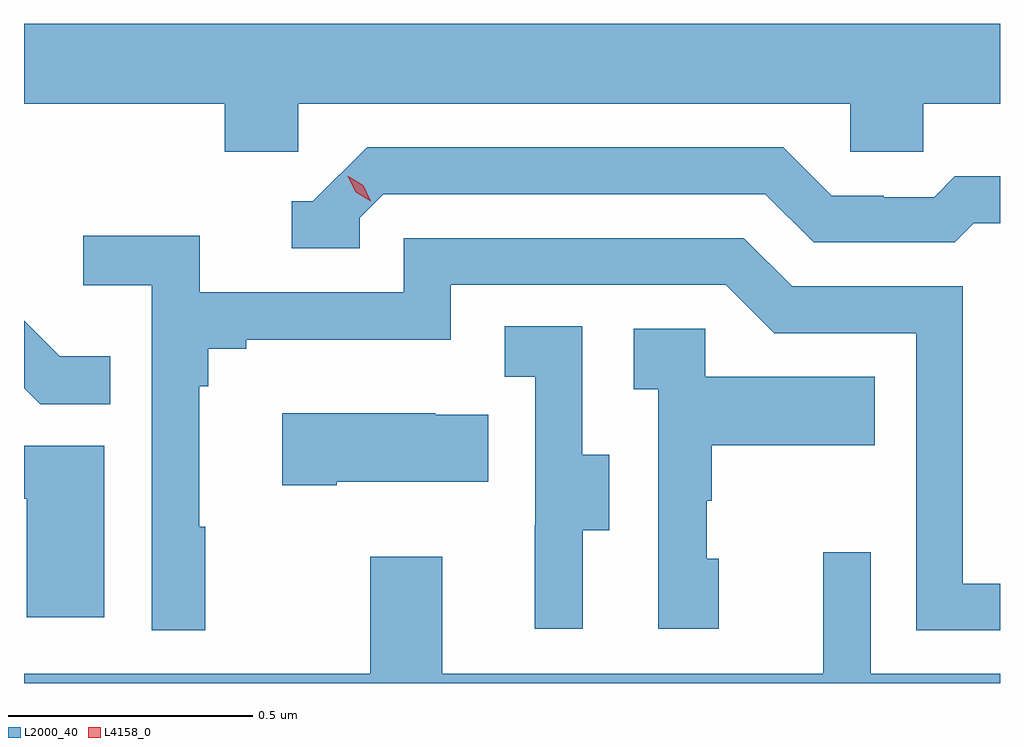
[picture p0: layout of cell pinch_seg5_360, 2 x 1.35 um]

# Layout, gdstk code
import gdstk
lib = gdstk.Library(unit=1e-6, precision=1e-09)
def P(c, l, *ps):  # polygons
    for p in ps: c.add(gdstk.Polygon(p, *l))
L2000_40 = (2000, 40)
L4158_0 = (4158, 0)

pinch_seg5_360 = lib.new_cell('pinch_seg5_360')
P(pinch_seg5_360, L2000_40, [(983.526,884.732),(984.657,884.732),(984.657,884.634),(984.807,884.634),(984.807,884.732),(984.964,884.732),(984.964,884.896),(982.964,884.896),(982.964,884.732),(983.375,884.732),(983.375,884.634),(983.526,884.634)],
  [(983.652,884.499),(983.7,884.547),(984.483,884.547),(984.582,884.448),(984.871,884.448),(984.91,884.487),(984.964,884.487),(984.964,884.584),(984.871,884.584),(984.829,884.541),(984.726,884.541),(984.726,884.544),(984.619,884.544),(984.52,884.643),(983.667,884.643),(983.556,884.532),(983.513,884.532),(983.513,884.436),(983.652,884.436)],
  [(983.335,883.865),(983.323,883.865),(983.323,884.153),(983.342,884.153),(983.342,884.23),(983.419,884.23),(983.419,884.249),(983.838,884.249),(983.838,884.361),(984.402,884.361),(984.501,884.262),(984.792,884.262),(984.792,883.653),(984.964,883.653),(984.964,883.749),(984.888,883.749),(984.888,884.358),(984.538,884.358),(984.439,884.457),(983.742,884.457),(983.742,884.346),(983.324,884.346),(983.324,884.462),(983.085,884.462),(983.085,884.36),(983.226,884.36),(983.226,883.653),(983.335,883.653)],
  [(983.141,884.215),(983.037,884.215),(982.964,884.288),(982.964,884.149),(982.997,884.116),(983.141,884.116)],
  [(984.109,883.858),(984.163,883.858),(984.163,884.013),(984.108,884.013),(984.108,884.276),(983.949,884.276),(983.949,884.173),(984.012,884.173),(984.012,883.869),(984.011,883.869),(984.011,883.656),(984.109,883.656)],
  [(984.388,883.8),(984.363,883.8),(984.363,883.919),(984.373,883.919),(984.373,884.033),(984.707,884.033),(984.707,884.173),(984.36,884.173),(984.36,884.271),(984.213,884.271),(984.213,884.147),(984.264,884.147),(984.264,883.656),(984.388,883.656)],
  [(983.605,883.958),(983.915,883.958),(983.915,884.095),(983.807,884.095),(983.807,884.098),(983.493,884.098),(983.493,883.951),(983.605,883.951)],
  [(983.128,884.031),(982.964,884.031),(982.964,883.923),(982.97,883.923),(982.97,883.68),(983.128,883.68)],
  [(984.964,883.564),(984.699,883.564),(984.699,883.813),(984.602,883.813),(984.602,883.564),(983.821,883.564),(983.821,883.804),(983.674,883.804),(983.674,883.564),(982.964,883.564),(982.964,883.545),(984.964,883.545)])
P(pinch_seg5_360, L4158_0, [(983.675,884.532),(983.644,884.551),(983.627,884.584),(983.627,884.584),(983.628,884.584),(983.659,884.565),(983.675,884.532),(983.675,884.532)])

lib.write_gds('pinch_seg5_360.gds')
